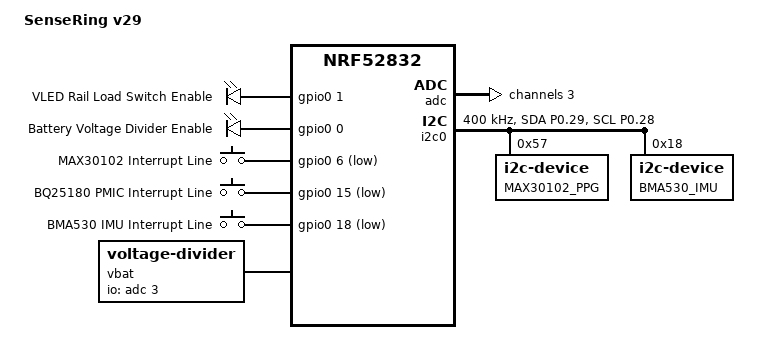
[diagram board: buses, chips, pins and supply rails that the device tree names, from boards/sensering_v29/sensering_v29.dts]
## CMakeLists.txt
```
cmake_minimum_required(VERSION 3.20.0)

# Directs Zephyr to search your current application directory for the "boards" folder
list(APPEND BOARD_ROOT ${CMAKE_CURRENT_SOURCE_DIR})

# Links this out-of-tree application directly to the Zephyr kernel framework
find_package(Zephyr REQUIRED HINTS $ENV{ZEPHYR_BASE})

project(sensering_v29_firmware)

# Source file compilation mapping
target_sources(app PRIVATE src/main.c src/ppg.c src/battery.c src/vitals.c src/flash_store.c src/ble.c src/imu.c src/wallclock.c)
```

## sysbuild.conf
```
SB_CONFIG_PARTITION_MANAGER=n
```

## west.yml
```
manifest:
  projects:
    - name: sensering-v29
      path: .
      groups:
        - board
    - name: segger
      url: https://github.com/zephyrproject-rtos/segger
      revision: v1.0.0
```

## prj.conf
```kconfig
# Core OS Thread Allocations
CONFIG_MAIN_STACK_SIZE=2048
CONFIG_SYSTEM_WORKQUEUE_STACK_SIZE=2048

# Hardware Interface Subsystems
# The PPG is driven directly over I2C in src/ppg.c: the part is a MAX30102 and
# the LED rail is gated by a load switch, neither of which the in-tree
# MAX30101 sensor driver knows about.
CONFIG_GPIO=y
CONFIG_I2C=y
# Battery sense: src/battery.c reads the switched VBAT divider off the SAADC.
CONFIG_ADC=y
# The in-tree voltage-divider sensor driver would otherwise claim the vbat node
# on sight. It only opens its power-gpios through the PM device runtime, so
# without the whole PM stack it latches the divider on at boot and never lets go
# -- which is the one thing the load switch is there to prevent. The DT node
# stays for the R5/R6 ratio; battery.c gates the switch itself.
CONFIG_VOLTAGE_DIVIDER=n
# No CONFIG_SENSOR / CONFIG_BMA4XX. The BMA530 is driven directly over I2C in
# src/imu.c for the same reason the MAX30102 is: the DTS declares the part
# "i2c-device", which claims the address and binds no driver, so there is no
# in-tree driver to enable. CONFIG_BMA4XX=y used to sit here and was a silent
# no-op -- Kconfig dropped it for an unmet devicetree dependency, so it never
# reached the generated .config at all.

# Nordic Hardware Peripheral Drivers
CONFIG_NRFX_GPIOTE=y

# Framework Options
CONFIG_CONSOLE=y
CONFIG_RTT_CONSOLE=y
CONFIG_USE_SEGGER_RTT=y

# Disable standard UART console to save power and pins
CONFIG_SERIAL=n
CONFIG_UART_CONSOLE=n

# Bound the application image so it cannot grow into the vitals log.
#
# There is no MCUboot, so the app links at 0x0 and the linker would otherwise
# believe it owns all 512KB -- including the `storage` partition. That was a
# theoretical problem while the log lived at 0x7a000 with 488KB of headroom in
# front of it. It stopped being theoretical when the log moved down to 0x3e000
# to take over the unused MCUboot slots: the margin is now ~57KB, and a firmware
# that quietly grew past it would have the log erasing its own code at the first
# lap. That failure is unrecoverable in the field and invisible at build time.
#
# 0x3e000 is where `storage` starts, and it is exactly the end of the old
# boot+image-0 span the app already occupied. Exceeding it is now a link error.
CONFIG_FLASH_LOAD_OFFSET=0
CONFIG_FLASH_LOAD_SIZE=0x3e000

# On-chip Flash Storage
# src/flash_store.c logs vitals packages into the "storage" partition via the
# flash map API, dumping and erasing it at boot and whenever it fills.
CONFIG_FLASH=y
CONFIG_FLASH_MAP=y
CONFIG_MPU_ALLOW_FLASH_WRITE=y

# Bluetooth Low Energy
# src/ble.c is a connectable peripheral advertising as "SenseRing". It serves
# the standard Heart Rate (0x180D) and Battery (0x180F) services plus a custom
# vitals-package service, and notifies each on every measurement.
CONFIG_BT=y
CONFIG_BT_PERIPHERAL=y
CONFIG_BT_DEVICE_NAME="SenseRing"
CONFIG_BT_DEVICE_APPEARANCE=833
CONFIG_BT_HRS=y
CONFIG_BT_BAS=y

# Pairing and bonding. src/ble.c gates the custom vitals and motion
# characteristics behind an encrypted link, so a wearer's readings are not
# exposed to anyone in range, and a bonded phone can auto-reconnect in the
# background (both iOS and Android lean on bonded peers for this). The ring has
# no display or keyboard, so pairing is Just Works (encrypted, unauthenticated).
CONFIG_BT_SMP=y
CONFIG_BT_BONDABLE=y

# One wearer, one phone: CONFIG_BT_MAX_PAIRED defaults to 1 and that is the
# right number. But with the key store full and no overwrite policy, a *new*
# phone's pairing is rejected outright -- and the ring has no way to be told to
# forget, so it would need a flash erase to ever be paired again. Overwriting
# the oldest bond makes "pair a different phone" replace the old one, which is
# the only sensible reading of the request on a single-wearer device.
CONFIG_BT_KEYS_OVERWRITE_OLDEST=y

# Re-pairing the *same* phone is not free either, which an earlier version of
# the comment above got wrong. OVERWRITE_OLDEST only governs allocating a key
# slot for a peer we have no slot for; it is never reached here. When the ring
# still holds a bond and the phone has lost its side of it -- the phone was
# factory reset, the user tapped "forget", or the bond was cleared in Settings
# -- the phone opens a fresh Just Works pairing, and smp.c update_keys_check()
# refuses to let an unauthenticated bond be replaced by another unauthenticated
# pairing. The ring answers BT_SMP_ERR_AUTH_REQUIREMENTS (err 4) and the phone
# can never pair again, because the ring also has no way to be told to forget.
#
# The guard exists so an attacker who copies the phone's address cannot replace
# the bond. That protection is worth little here: Just Works is unauthenticated
# in the first place, so anyone in range can already pair as a new phone. What
# it costs, without this option, is a wearer whose ring is permanently unpairable
# after a phone reset -- recoverable only by opening the device and erasing
# flash. On a sealed device that trade is not close.
CONFIG_BT_SMP_ALLOW_UNAUTH_OVERWRITE=y

# Lets ble.c refuse a pairing instead of only being told one happened.
#
# Without this, bt_conn_auth_cb has no pairing_accept field and there is no hook
# anywhere in the host that can say no: the ring is bondable, has no I/O to
# confirm a passkey with, and therefore accepted Just Works from any central in
# range, at any time. The comment above notes in passing that "anyone in range
# can already pair as a new phone" -- this is the option that stops being true
# of.
#
# The policy it enables lives in ble.c (pairing_accept): pairable while the ring
# holds no bond, and after that only inside a two-minute window opened by a
# power-on boot. That window is also what keeps the recovery path the comment
# above is defending -- a wearer whose phone was factory reset re-pairs after a
# power cycle rather than by opening the device and erasing flash.
CONFIG_BT_SMP_APP_PAIRING_ACCEPT=y

# Replaying the buffered log (ble.c, the history characteristic) at the default
# 23-byte ATT MTU would carry one 16-byte record per notification, so a full
# buffer would cost one round trip per record. At 65 a notification holds three.
#
# The buffer is 14592 records -- the "storage" partition is 0x3a000, one page of
# which is always the erased gap ahead of the cursor -- so that is ~4864
# notifications rather than 14592. Both numbers are larger than they read here
# for a long time: the partition grew from 24KB to 232KB in the DTS and the
# comments quoting "1536 records" were never moved with it.
#
# 65 rather than the 247 maximum, deliberately. The gain is steeply
# diminishing -- 3 records per notification against 15 -- while a longer packet
# means a longer radio on-time in every connection event that carries one, and
# radio time is the budget this device has least of (ARCHITECTURE.md 5.1.1).
# Raising it further is a real lever, but it is one to pull after measuring what
# the radio actually costs, not before.
#
# The ACL buffers have to hold an MTU-sized L2CAP PDU plus its 4-byte header.
CONFIG_BT_L2CAP_TX_MTU=65
CONFIG_BT_BUF_ACL_TX_SIZE=69
CONFIG_BT_BUF_ACL_RX_SIZE=69

# Preferred connection parameters, advertised in the GAP PPCP characteristic.
# These are the *idle* regime -- see the connection-parameter note in ble.c for
# why there are two and what moves between them. A central that reads PPCP and
# applies it lands on the same settings ble.c would have asked for, which is the
# point of setting them here as well as requesting them there.
#
# Latency 10 at a 50ms interval means the receiver listens every 550ms instead
# of every 50ms while the ring has nothing to say -- which, under
# buffer-and-flush, is nearly all the time. The numbers come from Apple's
# Accessory Design Guidelines, the strictest common central: latency <= 30,
# interval_max * (latency + 1) <= 2s, that product * 3 < timeout, timeout <= 6s.
# At 10 that is 550ms and 1.65s against a 6s timeout, so this now sits well
# inside the guideline rather than at its edge.
#
# **10 rather than 30, for link stability rather than for power.** At latency 30
# the ring may legitimately say nothing for 930ms, so a 6s supervision timeout
# leaves the central only about six chances to resynchronise before giving up.
# Measured, that drops the link repeatedly -- LINK_SUPERVISION_TIMEOUT after
# 7.4s, 24.2s, 41.0s, 54.9s and 62.6s -- each costing a full reconnect with bond
# check, encryption and service discovery. None of them is a reset: ring uptime
# and the step counter both run straight through, so only the link fails. At
# latency 10
# it speaks every 330-550ms, roughly three times as many chances inside the same
# timeout.
#
# **It is nearly free.** An empty connection event costs ~6uC, so the idle radio
# goes from ~6.5uA to ~18uA -- against a measured drain of milliamps, not a
# number worth protecting. The alternative, raising the supervision timeout,
# would breach the 6s ceiling above and risk iOS refusing the parameters.
CONFIG_BT_PERIPHERAL_PREF_MIN_INT=24
CONFIG_BT_PERIPHERAL_PREF_MAX_INT=40
CONFIG_BT_PERIPHERAL_PREF_LATENCY=10
CONFIG_BT_PERIPHERAL_PREF_TIMEOUT=600

# Off because ble.c owns this policy now. The stack's version is a single
# one-shot request a few seconds after connecting, which is exactly wrong for a
# device whose link alternates between silent for minutes and a burst of
# request-response traffic: it would fire in the middle of the first backlog
# transfer and put 1.55s on every acknowledgement in it. Two owners of one
# setting is the bug; this removes the other one.
CONFIG_BT_GAP_AUTO_UPDATE_CONN_PARAMS=n

# Off, and load-bearing. Auto-reconnect works by the phone holding a standing
# request against the ring's address, so that address has to be the same one
# next boot. Privacy would rotate it behind a resolvable private address; a
# bonded central resolves that fine, but this is a deliberate no rather than a
# default nobody looked at.
CONFIG_BT_PRIVACY=n

# Persist bonds across power cycles -- in RAM only, they are lost on every
# reset, which defeats the purpose. The settings subsystem writes them through
# NVS into the dedicated "settings" partition (board DTS), kept clear of the
# vitals-log "storage" partition that flash_store.c erases on every flush.
CONFIG_SETTINGS=y
CONFIG_NVS=y
CONFIG_SETTINGS_NVS=y
CONFIG_BT_SETTINGS=y

# The die-temperature sensor driver would otherwise hold the TEMP peripheral
# that the RC low-frequency clock's calibration needs -- this board has no
# 32kHz crystal, so the SoftDevice Controller runs off the calibrated RC. No
# code reads the die temperature, so drop the driver and free TEMP.
CONFIG_TEMP_NRF5=n

# Logging Infrastructure Configuration
CONFIG_LOG=y
CONFIG_LOG_BACKEND_RTT=y
CONFIG_LOG_BACKEND_UART=n
CONFIG_USE_SEGGER_RTT=y
CONFIG_RESET_ON_FATAL_ERROR=n
CONFIG_WATCHDOG=n

# Reads RESETREAS at boot so a reset can name its own cause (main.c,
# log_reset_cause). Without it an unexplained reset destroys records with
# nothing able to say why. Costs a few hundred bytes and one register read per
# boot.
#
# Note what the two options above mean for the answer: with no watchdog and no
# reset-on-fatal-error, this firmware has *almost* no software path to a reset.
#
# **Almost, and the exception below matters.** A clean fault halts, as intended.
# A fault taken with a corrupted stack pointer does not: the Cortex-M4 cannot stack the
# exception frame, escalates, and enters LOCKUP -- which resets the nRF52 in
# hardware and latches RESETREAS. So `cpu lockup` is not impossible here, it is
# the signature of exactly the failure this build could not previously see.
#
# **And `software request` is routine, not a surprise.** `west flash` ends by
# resetting the part, which sets SREQ. Every reflash prints
# it. It is only worth chasing on a boot nobody caused.
CONFIG_HWINFO=y
CONFIG_LOG_MODE_IMMEDIATE=y

# Catch a stack overflow instead of letting it corrupt whatever is next in RAM.
#
# **Without these there is no stack-overflow detection of any kind:** no MPU, no
# stack guard, no sentinel, no asserts. An overflow silently writes into its
# neighbour and the consequences arrive later and somewhere else, which is
# indistinguishable from a hardware fault.
#
# HW_STACK_PROTECTION places an MPU guard region below each thread stack, so an
# overflow faults on the write that causes it rather than on whatever the
# corruption breaks three seconds later.
#
# **It pairs deliberately with RESET_ON_FATAL_ERROR=n above, and that pairing is
# the diagnostic.** A detected overflow *halts* rather than reboots, so the ring
# goes silent and stays silent -- which is trivially distinguishable, from the
# phone, from a reset that comes back with a new generation and t= at zero.
# Two different symptoms for two different causes, where today there is one.
#
# CONFIG_MPU_ALLOW_FLASH_WRITE (above, in the flash section) has been set all
# along and was a no-op without ARM_MPU. It stops being one here, and it is
# load-bearing: flash_store.c writes to flash from a thread context.
#
# The guard regions cost a little RAM per thread. HISTORY_STACK_SIZE is 1024
# (ble.c) and is the tightest stack in the build -- flash reads, BLE notifies
# and logging on one workqueue -- so if anything trips first it will be that,
# and that is a result rather than a regression.
CONFIG_ARM_MPU=y
CONFIG_HW_STACK_PROTECTION=y

# 4KB of RTT up-buffer instead of the 1KB default.
#
# The default is about 13 of this firmware's log lines, and a 35-record dump
# overruns it, eating the summary line mid-write. `NO_BLOCK_SKIP` (below, and correct for a shipping build) means an
# overrun is *dropped silently* -- there is no marker, so a shredded line looks
# like a line that was never printed, and under LOG_MODE_IMMEDIATE nothing
# counts the losses either.
#
# **This raises the ceiling; it does not remove it.** A flush at a full page
# dumps 256 records and at capacity 14592, which is tens of KB -- more than this
# part has RAM for at any setting. What 4KB buys is that ordinary per-cycle
# output and a moderate dump stop colliding, which is what made the boot lines
# unreadable. Read a full-page dump expecting holes regardless.
#
# The alternative, BLOCK_IF_FIFO_FULL, is not an option: it stalls the firmware
# until a host drains the buffer, and this ring spends its life with no debugger
# attached. A ring that hangs when nobody is watching is worse than a log with
# gaps in it.
#
# Costs 3KB of RAM (59.6% -> 64.2% of the 64KB part).
CONFIG_SEGGER_RTT_BUFFER_SIZE_UP=4096

# Drop log lines the RTT buffer has no room for, instead of spinning until a
# host makes room.
#
# **The default is MODE_BLOCK**, which is the opposite of the policy
# SEGGER_RTT_MODE_NO_BLOCK_SKIP above states for the same device, on the same
# buffer, for the same reason. Two owners of one question, disagreeing -- so
# both are set explicitly.
#
# What BLOCK costs here is specifically a *busy-wait*, not a sleep. Zephyr's
# backend (subsys/logging/backends/log_backend_rtt.c, on_failed_write) picks
# between k_msleep and k_busy_wait on is_sync_mode() -- and LOG_MODE_IMMEDIATE
# below makes that permanently true -- so a full buffer spins the CPU at 64MHz
# rather than sleeping. RETRY_CNT is 4 and the last iteration latches instead of
# waiting, so that is three waits of RETRY_DELAY_MS: 15ms. Under IMMEDIATE it is
# spent in whatever context called LOG_*, which on this firmware includes BLE
# callbacks, where 15ms is half a connection interval.
#
# DROP does not merely change what happens when the buffer is full -- it removes
# the wait entirely. The backend's retry_cnt is `IS_ENABLED(MODE_BLOCK) ?
# RETRY_CNT : 1`, and at 1 the first failure latches host_present false without
# ever reaching the k_busy_wait.
#
# **This is not the battery drain, and it is not being claimed as one.** The
# spin is self-limiting: host_present latches false after the first exhausted
# retry and every later write returns immediately, so an untethered ring pays it
# once. It is fixed because a firmware whose logging policy is written down
# twice should not have the two copies disagree, and because 20ms of spinning
# inside a connection event is a plausible contributor to something else.
CONFIG_LOG_BACKEND_RTT_MODE_DROP=y

# Measure how much of the time the CPU is awake. See cpu_duty_report() in
# main.c for why this is the measurement that matters: with no DC/DC inductor
# the core runs from the LDO at ~7mA, and the observed ~3.3mA discharge is ~47%
# of that, while every other consumer on the board costs microamps. This is the
# only term with the right order of magnitude.
#
# THREAD_RUNTIME_STATS brings in the per-thread accounting;
# SCHED_THREAD_USAGE_ALL is what makes the whole-CPU roll-up
# (k_thread_runtime_stats_cpu_get) available rather than only per-thread
# figures. Costs two 64-bit counters per thread and a little work at every
# context switch -- which is itself a load this is measuring, so it is not free
# of the observer problem, but a few cycles per switch cannot manufacture tens
# of percent.
CONFIG_THREAD_RUNTIME_STATS=y
CONFIG_SCHED_THREAD_USAGE_ALL=y

# Force use of internal RC oscillator instead of external 32MHz crystal
CONFIG_CLOCK_CONTROL_NRF_K32SRC_RC=y

# Disable high-frequency external crystal expectation
# (This varies slightly by SDK version, but this is the general approach)
CONFIG_SOC_HFXO_CAP_INTERNAL=y
```

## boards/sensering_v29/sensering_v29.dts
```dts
/dts-v1/;
#include <nordic/nrf52832_qfaa.dtsi>
#include <zephyr/dt-bindings/adc/adc.h>

/ {
    model = "SenseRing v29";
    compatible = "sensering,sensering-v29";

    chosen {
        zephyr,sram = &sram0;
        zephyr,flash = &flash0;
        /* Keep the settings/NVS backend off the vitals-log partition. Without
         * this it defaults to storage_partition, which flash_store.c erases at
         * boot and laps over in normal running -- taking the BLE bond keys
         * with it.
         */
        zephyr,settings-partition = &settings_partition;
    };

    /* Updated hardware-aware mapping for your load switches */
    power_switches {
        compatible = "gpio-leds";
        led_en_switch: switch_1 {
            gpios = <&gpio0 1 GPIO_ACTIVE_HIGH>; /* Moved from P0.10 -> P0.01 */
            label = "VLED Rail Load Switch Enable";
        };
        vbat_en_switch: switch_2 {
            gpios = <&gpio0 0 GPIO_ACTIVE_HIGH>; /* Moved from P0.09 -> P0.00 */
            label = "Battery Voltage Divider Enable";
        };
    };

    /* Explicitly mapping the hardware interrupt inputs to give names to pins */
    interrupt_signals {
        compatible = "gpio-keys";
        ppg_int_pin: int_ppg {
            gpios = <&gpio0 6 (GPIO_ACTIVE_LOW | GPIO_PULL_UP)>;
            label = "MAX30102 Interrupt Line";
        };
        pmic_int_pin: int_pmic {
            gpios = <&gpio0 15 (GPIO_ACTIVE_LOW | GPIO_PULL_UP)>;
            label = "BQ25180 PMIC Interrupt Line";
        };
        imu_int_pin: int_imu {
            gpios = <&gpio0 18 (GPIO_ACTIVE_LOW | GPIO_PULL_UP)>;
            label = "BMA530 IMU Interrupt Line";
        };
    };

    /* The cell reaches this divider only while vbat_en_switch holds U4 on, so
     * the legs below burn 1.7uA during a reading and nothing at all between
     * them. The tap sits on AIN3.
     */
    vbat: vbat {
        compatible = "voltage-divider";
        io-channels = <&adc 3>;
        output-ohms = <1000000>;  /* R6 */
        full-ohms = <2500000>;    /* R5 (1M5) + R6 (1M) */
    };
};

&flash0 {
    partitions {
        compatible = "fixed-partitions";
        #address-cells = <1>;
        #size-cells = <1>;

        boot_partition: partition@0 {
            label = "mcuboot";
            reg = <0x00000000 0xc000>;
        };
        slot0_partition: partition@c000 {
            label = "image-0";
            reg = <0x0000c000 0x32000>;
        };
        /* What used to be image-1 (200KB) and image-scratch (32KB) is now the
         * vitals log. MCUboot is not built and nothing links against these
         * slots (ARCHITECTURE.md App. C), so before this they were 232KB of
         * flash the device carried and never touched.
         *
         * **The trade, made deliberately: this gives up OTA updates** unless the
         * space is reclaimed later. What it buys is buffer depth -- the ring
         * goes from ~8.6 hours uncollected to a bit over four days, which is
         * the difference between a wearer who leaves their phone charging
         * overnight losing the early hours of a night and losing nothing.
         * That failure is specific and plausible; a firmware update path that
         * has never been built is not.
         *
         * Reclaiming it later means shrinking this back to 0x6000 at 0x7a000
         * and restoring the two slots. Records are RAM-addressed by sequence
         * number and erased at boot, so nothing on flash has to migrate.
         */
        storage_partition: partition@3e000 {
            label = "storage";
            reg = <0x0003e000 0x3a000>;
        };
        /* NVS-backed settings store for BLE bond keys (see CONFIG_BT_SETTINGS).
         * Two pages is the NVS minimum: the backend needs at least two 4KB
         * erase sectors for its garbage collection.
         *
         * **Deliberately left where it was.** The obvious tidier layout moves
         * this to the end and lets storage run contiguously to 0x80000, but the
         * NVS content is addressed by partition offset: moving it discards every
         * stored bond *and* the BLE identity address, so every paired phone
         * would need re-pairing and every standing auto-connect request would be
         * waiting for a peer that no longer exists (§5B.5). Twenty-four
         * kilobytes of buffer is not worth that.
         */
        settings_partition: partition@78000 {
            label = "settings";
            reg = <0x00078000 0x2000>;
        };
        /* 0x7a000-0x80000 is the old 24KB storage partition, now unallocated.
         * It is stranded on the far side of `settings` and cannot be merged
         * into the log, which has to be one contiguous flash area. Left out of
         * the table rather than relabelled, so it reads as spare rather than as
         * something with a purpose.
         */
    };
};

&gpio0 {
    status = "okay";
};

&gpiote {
    status = "okay";
};

&adc {
    status = "okay";
    #address-cells = <1>;
    #size-cells = <0>;

    /* The divider scales a full 4.2V cell down to 1.68V, so 1/3 gain against
     * the internal 0.6V reference gives a 1.8V full scale that covers the cell
     * with a little room left over. R5 and R6 in parallel present 600k to the
     * SAADC, which is why the sampling capacitor needs the longest acquisition
     * window the peripheral offers.
     */
    channel@3 {
        reg = <3>;
        zephyr,gain = "ADC_GAIN_1_3";
        zephyr,reference = "ADC_REF_INTERNAL";
        zephyr,acquisition-time = <ADC_ACQ_TIME(ADC_ACQ_TIME_MICROSECONDS, 40)>;
        zephyr,input-positive = <NRF_SAADC_AIN3>;
        zephyr,resolution = <12>;
        /* The PPG pulses ~10mA of LED drive off the same cell, so average 16
         * conversions to keep that ripple out of the reading.
         */
        zephyr,oversampling = <4>;
    };
};

/* Shared I2C (TWI) Bus Mapping using your updated hardware boundaries */
&i2c0 {
    status = "okay";
    pinctrl-0 = <&i2c0_default>;
    pinctrl-1 = <&i2c0_sleep>;
    pinctrl-names = "default", "sleep";
    clock-frequency = <I2C_BITRATE_FAST>; /* 400 kHz bus clock speed */

    max30102: max30102@57 {
        compatible = "i2c-device";
        reg = <0x57>;
        label = "MAX30102_PPG";
    };

    /* The v49 schematic (designator AC2) fits a BMA530, not the BMA456 this
     * node used to claim. Different part, different generation, incompatible
     * register map. 0x18 is the BMA530's fixed default address -- the 6-ball
     * WLCSP exposes no SDO pin, so unlike the BMA456 there is nothing to strap.
     */
    bma530: bma530@18 {
        compatible = "i2c-device";
        reg = <0x18>;
        label = "BMA530_IMU";
    };
};

/* Pin control management updated from (P0.26/P0.27) -> (P0.29/P0.28) */
&pinctrl {
    i2c0_default: i2c0_default {
        group1 {
            psels = <NRF_PSEL(TWIM_SDA, 0, 29)>,
                    <NRF_PSEL(TWIM_SCL, 0, 28)>;
            bias-pull-up;
        };
    };

    i2c0_sleep: i2c0_sleep {
        group1 {
            psels = <NRF_PSEL(TWIM_SDA, 0, 29)>,
                    <NRF_PSEL(TWIM_SCL, 0, 28)>;
            low-power-enable;
        };
    };
};

&clock {
    status = "okay";
};
```

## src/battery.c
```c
/* Switched VBAT divider on the SAADC. See ARCHITECTURE.md §2 for the divider
 * math, the settle-time derivation and why the in-tree driver is disabled.
 */
#include "battery.h"
#include <zephyr/drivers/adc.h>
#include <zephyr/drivers/adc/voltage_divider.h>
#include <zephyr/drivers/gpio.h>
#include <zephyr/kernel.h>
#include <zephyr/logging/log.h>
#include <zephyr/sys/util.h>
#include <stdbool.h>

LOG_MODULE_DECLARE(main);

#define VBAT_NODE DT_NODELABEL(vbat)

/* VBAT reaches the divider only through U4, a WS4622C load switch gated by
 * VBAT_EN. Leaving it open between readings is what keeps the divider off the
 * cell: 4.2V across 2M5 would otherwise trickle 1.7uA away around the clock.
 */
static const struct gpio_dt_spec vbat_power_en = GPIO_DT_SPEC_GET(DT_NODELABEL(vbat_en_switch), gpios);
static const struct voltage_divider_dt_spec vbat_divider = VOLTAGE_DIVIDER_DT_SPEC_GET(VBAT_NODE);

/* C21 (1nF) sits on the tap, and the divider drives it through R5||R6 = 600k.
 * One time constant is 600us, so the node needs ~3ms after the switch closes
 * before it means anything.
 */
#define VBAT_SETTLE_MS 3

/* Conversions per reading, and why more than one.
 *
 * **Measured: the cell reads 40, 38, 40, 37, 41, 42% on consecutive
 * three-second cycles.** That is not the cell moving, it is a 31mAh cell with
 * high internal resistance being sampled at an arbitrary point relative to a
 * BLE burst -- ~15mA into a couple of ohms is tens of millivolts of sag, and
 * the discharge curve runs 5% per 10mV through the middle, so a single badly
 * timed conversion is worth several percent.
 *
 * Odd, so the median is an actual sample rather than an average of two. Five
 * costs about 100us of SAADC time inside a window where the divider is already
 * powered and the 3ms settle has already been paid -- the expensive parts of a
 * reading happen once either way.
 *
 * A median rather than a mean on purpose: sag is one-sided. A burst during one
 * conversion drags a mean down with it, while the median simply ignores it
 * unless it happened during most of them.
 */
#define VBAT_SAMPLES 5

/* Discharge curve for a single LiPo cell, as open-circuit millivolts against
 * remaining charge. The knees carry the information: the middle of the range
 * is nearly flat, so a linear fit across the whole span would read ~50% for
 * most of the cell's life and then fall off a cliff without warning.
 */
static const struct {
    uint16_t mv;
    uint8_t percent;
} discharge_curve[] = {
    { 4200, 100 }, { 4150, 95 }, { 4110, 90 }, { 4080, 85 }, { 4020,  80 },
    { 3980, 75 },  { 3950, 70 }, { 3910, 65 }, { 3870, 60 }, { 3850, 55 },
    { 3840, 50 },  { 3820, 45 }, { 3800, 40 }, { 3790, 35 }, { 3770, 30 },
    { 3750, 25 },  { 3730, 20 }, { 3710, 15 }, { 3690, 10 }, { 3610, 5 },
    { 3270, 0 },
};

int battery_init(void)
{
    int ret;

    if (!gpio_is_ready_dt(&vbat_power_en)) {
        LOG_ERR("VBAT divider load switch GPIO not ready");
        return -ENODEV;
    }

    if (!adc_is_ready_dt(&vbat_divider.port)) {
        LOG_ERR("SAADC not ready");
        return -ENODEV;
    }

    /* Inactive: the divider stays disconnected until a reading asks for it. */
    ret = gpio_pin_configure_dt(&vbat_power_en, GPIO_OUTPUT_INACTIVE);
    if (ret != 0) {
        LOG_ERR("Failed to configure VBAT divider load switch (%d)", ret);
        return ret;
    }

    ret = adc_channel_setup_dt(&vbat_divider.port);
    if (ret != 0) {
        LOG_ERR("SAADC channel setup failed (%d)", ret);
        return ret;
    }

    LOG_INF("Battery monitor ready on AIN%d", vbat_divider.port.channel_id);
    return 0;
}

/* Insertion sort, because VBAT_SAMPLES is 5. */
static void sort_small(int16_t *v, size_t n)
{
    for (size_t i = 1; i < n; i++) {
        int16_t key = v[i];
        size_t j = i;

        while (j > 0 && v[j - 1] > key) {
            v[j] = v[j - 1];
            j--;
        }
        v[j] = key;
    }
}

int battery_read_mv(void)
{
    int16_t raw;
    int16_t samples[VBAT_SAMPLES];
    struct adc_sequence sequence = {
        .buffer = &raw,
        .buffer_size = sizeof(raw),
        /* Recalibrating each time costs a few hundred microseconds once every
         * 10s and holds the offset steady as the ring warms against skin.
         */
        .calibrate = true,
    };
    /* Holds the tap voltage first, then the cell voltage: both conversions
     * below rewrite it in place.
     */
    int32_t tap_mv;
    int ret;

    /* Fills in channels/resolution/oversampling only, so the initializer's
     * buffer and calibrate settings above survive. Order can't be flipped.
     */
    ret = adc_sequence_init_dt(&vbat_divider.port, &sequence);
    if (ret != 0) {
        return ret;
    }

    ret = gpio_pin_set_dt(&vbat_power_en, 1);
    if (ret != 0) {
        return ret;
    }

    k_msleep(VBAT_SETTLE_MS);

    /* All VBAT_SAMPLES inside one switch-on: the settle above is paid once and
     * the divider is not toggled between conversions, so this is the cheap part
     * of the reading rather than five readings.
     */
    for (size_t i = 0; i < VBAT_SAMPLES; i++) {
        ret = adc_read_dt(&vbat_divider.port, &sequence);
        if (ret != 0) {
            break;
        }
        samples[i] = raw;
        /* Calibrate on the first conversion only. Four more recalibrations
         * would cost more than the extra conversions they accompany, and the
         * offset cannot drift measurably inside a few hundred microseconds.
         */
        sequence.calibrate = false;
    }

    /* Drop the divider whether or not the conversion worked: returning early on
     * error would latch the switch on and leak for the rest of the cell's life.
     */
    (void)gpio_pin_set_dt(&vbat_power_en, 0);

    if (ret != 0) {
        return ret;
    }

    sort_small(samples, VBAT_SAMPLES);

    /* Single-ended conversions can land a count or two below zero on an empty
     * input; clamp so the millivolt conversion stays sane.
     */
    tap_mv = MAX(samples[VBAT_SAMPLES / 2], 0);

    ret = adc_raw_to_millivolts_dt(&vbat_divider.port, &tap_mv);
    if (ret != 0) {
        return ret;
    }

    /* Scale the tap back up to the cell voltage using R5/R6 from the DT. */
    ret = voltage_divider_scale_dt(&vbat_divider, &tap_mv);
    if (ret != 0) {
        return ret;
    }

    return (int)tap_mv;
}

uint8_t battery_percent(uint16_t mv)
{
    if (mv >= discharge_curve[0].mv) {
        return discharge_curve[0].percent;
    }

    for (size_t i = 1; i < ARRAY_SIZE(discharge_curve); i++) {
        if (mv >= discharge_curve[i].mv) {
            /* Interpolate between the bracketing points. */
            const uint16_t span_mv = discharge_curve[i - 1].mv - discharge_curve[i].mv;
            const uint8_t span_pct = discharge_curve[i - 1].percent - discharge_curve[i].percent;

            return discharge_curve[i].percent + ((mv - discharge_curve[i].mv) * span_pct) / span_mv;
        }
    }

    return 0;
}

/* ==========================================================================
 * The reported level
 *
 * `battery_percent()` above is the curve, and it is honest about a single
 * voltage. What a person reads off a phone needs two more things it cannot
 * give them.
 *
 * **It must not climb while the ring is discharging.** A gauge that goes 40,
 * 38, 41, 37 teaches the wearer that none of the numbers mean anything, and the
 * one number this device needs believed is the one that says charge it. Sag is
 * one-sided -- the cell reads low under load and recovers, never the reverse --
 * so an upward step is nearly always noise and a downward step nearly always
 * real. The clamp is asymmetric for that reason: falls are taken immediately,
 * rises have to be earned.
 *
 * **It must still notice a charger.** So a rise is accepted once the smoothed
 * voltage has genuinely moved up by more than sag accounts for, which is what
 * CHARGE_MV is. Below that a rise is absorbed into the average and changes
 * nothing.
 *
 * CHARGE_MV arms once, not once per step. It answers "is this cell recovering
 * or is this noise", and that question only has to be asked while the answer is
 * still no. Re-asking it after every accepted rise makes 40mV the smallest
 * upward movement the level can ever make, and 40mV through the flat middle of
 * the curve is a dozen percent -- a charging ring would climb 17, 29, 43, 56
 * rather than counting up. So once a rise is believed the ring stays in the
 * rising state, following the cell cycle by cycle, until it falls again.
 *
 * The EMA is over millivolts rather than percent, deliberately: averaging
 * percentages averages the curve's own steep middle, where 10mV is 5%, and
 * would smooth hardest exactly where the resolution matters most.
 * ========================================================================== */

/* Weight of each new reading in the average, as a reciprocal: 4 means the new
 * sample is a quarter of the result. At the shipping cadence a cycle is two
 * minutes, so this settles in roughly eight.
 */
#define VBAT_EMA_SHIFT 2

/* How far the smoothed voltage must rise before the level is allowed to climb.
 * Comfortably more than a BLE burst's sag and comfortably less than what a
 * charger does in a couple of minutes.
 */
#define CHARGE_MV 40

/* Most percentage points the reported level may climb in one reading.
 *
 * **This exists because arming CHARGE_MV is a cliff:** putting the ring on a
 * charger moves the gauge 5-10 points in a single step. The comment above
 * explains why the rise gate arms
 * once rather than per step -- re-arming makes 40mV the smallest upward movement
 * the level can ever make -- but arming once does not remove that first 40mV
 * worth of suppressed error, it concentrates it. Through the flat middle of the
 * curve 40mV is about a dozen points, and the moment the gate clears, all of it
 * lands at once.
 *
 * So the release is spread instead of snapped. Nothing else changes: the gate,
 * the hysteresis and the immediate-fall rule are all as they were.
 *
 * **4 is chosen to bind on the release and not on real charging.** A 31mAh cell
 * charged at 1C is full in an hour, which at the shipping cadence of one reading
 * per ~121s is about 3.4 points per reading -- so genuine charging stays under
 * this ceiling and is reported as fast as it happens, while a twelve-point
 * release becomes three steps rather than one jump.
 *
 * **It is display smoothing, not a physical model.** The gauge infers charging
 * from a voltage rise because nothing tells it the truth: the BQ25180 knows,
 * and this firmware does not address it. Given that bit, the clamp could be
 * skipped outright while charging and this ceiling would have nothing left to
 * do.
 */
#define LEVEL_RISE_MAX_PCT 4

static uint16_t s_ema_mv;      /* 0 until the first reading */
static uint8_t s_reported;
static uint16_t s_rise_floor;  /* the voltage a rise is measured against */
static bool s_rising;          /* CHARGE_MV has been cleared and not fallen back */

uint8_t battery_level(uint16_t mv)
{
    uint8_t raw;

    if (s_ema_mv == 0) {
        /* First reading of the session. Nothing to smooth against, and no
         * reason to make the wearer wait eight cycles for a number.
         */
        s_ema_mv = mv;
        s_rise_floor = mv;
        s_rising = false;
        s_reported = battery_percent(mv);
        return s_reported;
    }

    s_ema_mv = (uint16_t)(s_ema_mv + ((int32_t)mv - (int32_t)s_ema_mv) / (1 << VBAT_EMA_SHIFT));
    raw = battery_percent(s_ema_mv);

    if (raw < s_reported) {
        /* Downward is believed straight away. A cell that is actually emptying
         * must never be reported as fuller than it is, and the cost of
         * believing a spuriously low reading is an early warning rather than a
         * late one.
         */
        s_reported = raw;
        s_rise_floor = s_ema_mv;
        /* Whatever recovery was underway is over; the next rise has to earn
         * CHARGE_MV again from here.
         */
        s_rising = false;
    } else if (raw > s_reported && (s_rising || s_ema_mv > s_rise_floor + CHARGE_MV)) {
        /* Genuinely recovering: on a charger, or off a heavy load for long
         * enough that the cell has settled. Either way the rise is real, and
         * stays real until the cell turns back around -- so follow it from here
         * rather than making each further percent clear the gate again.
         */
        uint8_t gap = (uint8_t)(raw - s_reported);

        s_rising = true;
        s_reported += MIN(gap, LEVEL_RISE_MAX_PCT);

        /* The floor follows the *voltage*, not the clamped level, so a release
         * that takes several readings to play out does not have to re-earn
         * CHARGE_MV part-way through. `s_rising` already holds the gate open;
         * moving the floor here keeps the two consistent for the fall path,
         * which measures the next rise from wherever the cell actually is.
         */
        s_rise_floor = s_ema_mv;
    }

    return s_reported;
}

void battery_level_reset(void)
{
    s_ema_mv = 0;
    s_reported = 0;
    s_rise_floor = 0;
    s_rising = false;
}
```

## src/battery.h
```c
#ifndef BATTERY_H
#define BATTERY_H

#include <stdint.h>

/* Sets up the SAADC channel and leaves the divider unpowered. */
int battery_init(void);

/* Powers the divider, samples the cell and drops the divider again. Returns
 * the cell voltage in millivolts, or a negative errno.
 */
int battery_read_mv(void);

/* Remaining charge for a cell voltage, 0-100. Pure: the discharge curve and
 * nothing else. Correct for one voltage, and unusable on its own for a display
 * -- see battery_level().
 */
uint8_t battery_percent(uint16_t mv);

/* What to actually show and act on: battery_percent() over a smoothed voltage,
 * clamped so it cannot climb while the cell is discharging.
 *
 * Stateful, and the state is the point. A raw reading on a 31mAh cell moves
 * several percent depending on whether a BLE burst happened to land during the
 * conversion -- measured at 40/38/40/37/41/42% on consecutive cycles. Call this
 * once per cycle, from one place.
 */
uint8_t battery_level(uint16_t mv);

/* Forgets the smoothing state. For tests, and for a deliberate re-baseline. */
void battery_level_reset(void);

#endif
```

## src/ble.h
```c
#ifndef BLE_H
#define BLE_H

#include <stdbool.h>
#include <stdint.h>

#include "flash_store.h"

/* The ring as a connectable BLE peripheral. It advertises as "SenseRing" and
 * exposes three GATT services: the standard Heart Rate (0x180D) and Battery
 * (0x180F) services, plus a custom service carrying the vitals package the
 * flash log stores, a {timestamp, x, y, z, steps} acceleration package, a
 * control channel for commands to the ring, and the buffered log replayed on
 * request -- which is the path most of a wearer's data actually travels.
 * See ARCHITECTURE.md §5B.
 *
 * flash_store.h is included for `struct flash_sample`, which is the vitals
 * package: the log record and the notification are deliberately one layout, so
 * the type that describes it belongs to whichever of the two defines it and is
 * shared rather than duplicated.
 */

/* Brings up the controller, registers the services and starts advertising.
 * Returns 0, or a negative errno. BLE is a bonus on top of the RTT line, so a
 * failure here is not fatal to measuring -- main() carries on without it.
 */
int ble_init(void);

/* Pushes one measurement to any subscribed client: the bpm to the Heart Rate
 * service and the full 16-byte vitals package to the custom vitals service --
 * byte-for-byte the flash record, little-endian, with the sample's `contact`
 * in bit 0 of byte 14 and byte 15 (the record's repeat count) always zero.
 * A no-op when nothing is connected or subscribed.
 *
 * Only readings the firmware vouches for reach this. Refused windows are
 * stored with their reason but not notified -- the live view carries readings,
 * and the history replay carries the gaps.
 */
void ble_notify_vitals(const struct flash_sample *sample);

/* Pushes one motion reading to any subscribed client, as a 14-byte
 * {timestamp_ms, x, y, z, steps} package: uint32, three int16, then uint32 --
 * all little-endian, axes in signed milli-g, steps a free-running total since
 * boot (see imu_read_steps()). A no-op when nothing is subscribed.
 *
 * A separate characteristic from the vitals package rather than extra fields on
 * it, because that package is byte-for-byte what the flash log stores and these
 * values are not stored. See ble.c.
 */
void ble_notify_motion(uint32_t timestamp_ms, int16_t x, int16_t y, int16_t z, uint32_t steps);

/* Tells a subscribed client that something worth collecting just happened, so
 * it pulls the buffer now rather than at its next poll. A no-op when nothing is
 * subscribed -- the records are in flash either way.
 *
 * This exists because the ring cannot push its buffer. The log is read over
 * BLE, so the ring needs a way to say "come and get it" or a full buffer would
 * wait for the phone's next connection.
 *
 * Three things send it: the backlog crossing BACKLOG_NUDGE_HIGH_PCT, the
 * ten-minute uncollected backstop, and **a client subscribing to history
 * without asking for its backlog** (`OFFER_AFTER_SUBSCRIBE_MS` in ble.c). The
 * last is the "the app was just opened" path; the others are the ring deciding
 * for itself that a wait has gone on too long.
 */
void ble_notify_event(void);

/* Reasons for ble_notify_alert(). Mirrors ALERT_* in ble.c, and whatever the
 * client decodes on the other side of the wire.
 */
#define BLE_ALERT_WORN             0x01u
#define BLE_ALERT_NOT_WORN         0x02u
#define BLE_ALERT_BATTERY_LOW      0x03u
#define BLE_ALERT_BATTERY_CRITICAL 0x04u
#define BLE_ALERT_BATTERY_OK       0x05u

/* Tells the phone something changed that a person should be told about now:
 * the ring came off, or the cell is running out.
 *
 * Distinct from ble_notify_event(), which asks the phone to *collect*. This one
 * asks it to *say something*, carries no cursor, and is sent on transitions
 * only -- an alert repeated every cycle is an alert nobody reads.
 */
void ble_notify_alert(uint8_t reason);

/* Tells ble.c what this boot was, so the control read can hand it to the phone.
 *
 * `reset_cause` is RESETREAS exactly as `hwinfo_get_reset_cause()` returned it,
 * unshifted and undecoded -- the naming belongs on the phone, and a bit this
 * firmware has no name for is still a bit worth carrying. `cause_valid` is
 * false only when the read itself failed: **a zero cause with `cause_valid`
 * true is a finding, not a gap**, because this part latches no bit for
 * power-on or brownout, so a supply that went away reads clear. See
 * log_reset_cause() in main.c.
 *
 * Called once, from main(), before ble_init(). It exists because the cause is
 * unreadable by then any other way: main.c clears RESETREAS as soon as it has
 * read it, so a later boot cannot report an earlier one's cause.
 *
 * **This is the only field-visible account of a reset.** `Reset cause:` goes to
 * RTT, RTT means tethered, and a reset on a worn ring is not. Without this a
 * client can see *that* the ring restarted -- uptime going backwards -- and
 * never why.
 */
void ble_set_boot_report(uint32_t reset_cause, bool cause_valid, uint32_t records_destroyed);

/* What the cell said on the way out, if the previous run ended with it empty.
 *
 * **This is the only way a phone can ever learn that the cell reached zero.**
 * The ring stops measuring at 5%, spends the rest of the charge delivering its
 * backlog and then loses the rail; the moment the cell is actually empty is the
 * moment nothing can transmit, and the next phone to reach the ring finds it
 * charged and reading 60%. So the report is made on the boot *after* the death,
 * out of a mark left in NVS on the way down and the reset cause found on the way
 * up -- see the flat mark in main.c for why neither alone is sufficient.
 *
 * [percent] and [millivolts] are the last reading before the mark was armed, and
 * [epoch_ms] when that was, or 0 if no phone had set the clock during that run.
 * All three are meaningless unless [went_flat]; a phone must test the flag
 * rather than the percentage, because 0% is not a value this ring can report
 * having measured.
 *
 * Called once, from main(), before ble_init(), for the same reason as
 * ble_set_boot_report(): the first control read after a reset must already carry
 * it.
 */
void ble_set_flat_report(bool went_flat, uint8_t percent, uint16_t millivolts,
                         uint64_t epoch_ms);

/* Updates the Battery service level (0-100), notifying subscribers. */
void ble_set_battery(uint8_t percent);

/* Cell level and free-running step total in one packet, on the battery's
 * cadence: {u32 uptime_ms, u8 percent, u16 mV, u32 steps}, little-endian.
 *
 * Sent alongside ble_set_battery() rather than through it, because the standard
 * Battery service is a single percent byte with nowhere to carry a step count.
 * Steps are a *total*, so two notifications can be differenced for a rate --
 * see the note at the definition for why this survives BLE_LIVE_STREAM being 0
 * when the vitals and motion packets do not.
 */
void ble_notify_status(uint32_t timestamp_ms, uint8_t percent, uint16_t millivolts,
                       uint32_t steps);

#endif
```

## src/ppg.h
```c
#ifndef PPG_H
#define PPG_H

#include <stddef.h>
#include <stdint.h>

/* Output sample rate: the chip converts at 50Hz and averages pairs. Everything
 * downstream derives its timing from this, so it lives here rather than being
 * spelled out twice. See ARCHITECTURE.md §3.2.
 */
#define PPG_SAMPLE_RATE_HZ 25

/* One FIFO entry: 18-bit ADC counts from each LED channel. */
struct ppg_sample {
    uint32_t red;
    uint32_t ir;
};

/* Verifies the MAX30102 and loads its configuration. Leaves the sensor stopped
 * and the VLED rail down -- call ppg_start() to take a measurement.
 */
int ppg_init(void);

/* Raises the VLED rail, wakes the sensor and clears the FIFO so the window
 * starts on settled data. Returns 0 or a negative errno.
 */
int ppg_start(void);

/* Drains whole samples from the sensor FIFO. Returns the number of samples
 * read (possibly 0), or a negative errno.
 */
int ppg_read_fifo(struct ppg_sample *samples, size_t max_samples);

/* Shuts the sensor down and drops the VLED rail. */
void ppg_stop(void);

#endif
```
